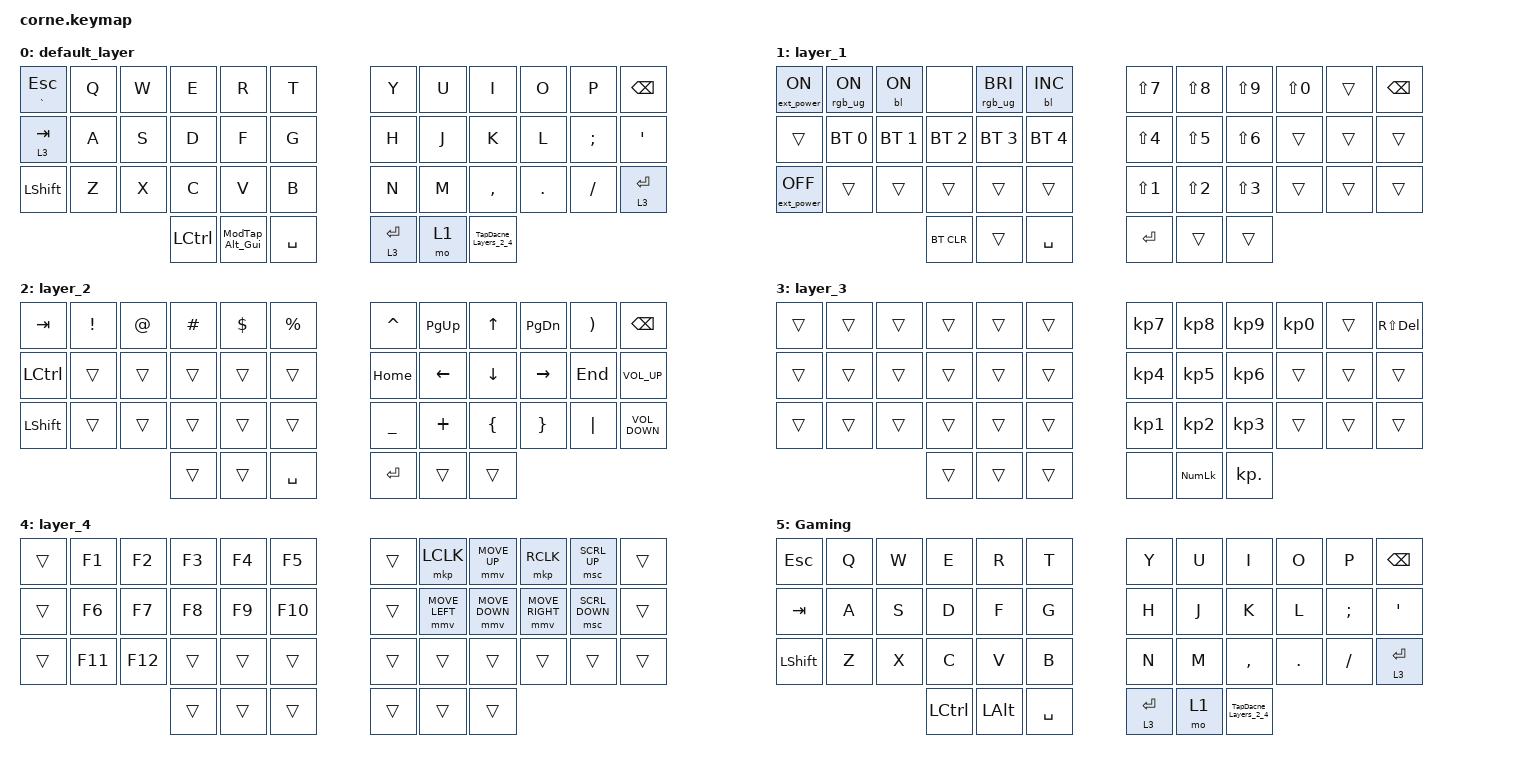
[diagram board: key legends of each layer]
/*
 * Copyright (c) 2020 The ZMK Contributors
 *
 * SPDX-License-Identifier: MIT
 */

#define ZMK_POINTING_DEFAULT_MOVE_VAL 1500  // default: 600
#define ZMK_POINTING_DEFAULT_SCRL_VAL 20    // default: 10

#include <behaviors.dtsi>
#include <dt-bindings/zmk/backlight.h>
#include <dt-bindings/zmk/bt.h>
#include <dt-bindings/zmk/ext_power.h>
#include <dt-bindings/zmk/keys.h>
#include <dt-bindings/zmk/pointing.h>
#include <dt-bindings/zmk/pointing.h>
#include <dt-bindings/zmk/pointing.h>
#include <dt-bindings/zmk/rgb.h>

&mt {
    hold-while-undecided;
    tapping-term-ms = <170>;
};

/ {
    combos {
        compatible = "zmk,combos";

        Delete {
            bindings = <&kp DEL>;
            key-positions = <11 24>;
            layers = <0>;
        };

        Toggle_Mute {
            bindings = <&kp C_MUTE>;
            key-positions = <35 23>;
            layers = <2>;
        };

        Shift_Del {
            bindings = <&kp RS(DELETE)>;
            key-positions = <35 11>;
            layers = <0>;
        };
    };

    behaviors {
        TapDacne_Layers_2_4: TapDacne_Layers_2_4 {
            compatible = "zmk,behavior-tap-dance";
            label = "TAPDACNE_LAYERS_2_4";
            #binding-cells = <0>;
            bindings = <&mo 2>, <&mo 4>;
        };

        ModTap_Alt_Gui: ModTap_Alt_Gui {
            compatible = "zmk,behavior-tap-dance";
            label = "MODTAP_ALT_GUI";
            #binding-cells = <0>;
            bindings = <&mt LEFT_ALT LEFT_GUI>, <&kp LEFT_GUI>;
        };
    };

    keymap {
        compatible = "zmk,keymap";

        default_layer {
            // -----------------------------------------------------------------------------------------
            // |  TAB |  Q  |  W  |  E  |  R  |  T  |   |  Y  |  U   |  I  |  O  |  P  | BSPC |
            // | CTRL |  A  |  S  |  D  |  F  |  G  |   |  H  |  J   |  K  |  L  |  ;  |  '   |
            // | SHFT |  Z  |  X  |  C  |  V  |  B  |   |  N  |  M   |  ,  |  .  |  /  | ESC  |
            //                    | GUI | LWR | SPC |   | ENT | RSE  | ALT |

            bindings = <
&mt GRAVE ESCAPE  &kp Q  &kp W  &kp E      &kp R            &kp T        &kp Y        &kp U  &kp I                 &kp O    &kp P     &kp BSPC
&lt 3 TAB         &kp A  &kp S  &kp D      &kp F            &kp G        &kp H        &kp J  &kp K                 &kp L    &kp SEMI  &kp SQT
&kp LSHFT         &kp Z  &kp X  &kp C      &kp V            &kp B        &kp N        &kp M  &kp COMMA             &kp DOT  &kp FSLH  &lt 3 ENTER
                                &kp LCTRL  &ModTap_Alt_Gui  &kp SPACE    &lt 3 ENTER  &mo 1  &TapDacne_Layers_2_4
            >;
        };

        layer_1 {
            // -----------------------------------------------------------------------------------------
            // |  TAB |  1  |  2  |  3  |  4  |  5  |   |  6  |  7  |  8  |  9  |  0  | BSPC |
            // | BTCLR| BT1 | BT2 | BT3 | BT4 | BT5 |   | LFT | DWN |  UP | RGT |     |      |
            // | SHFT |     |     |     |     |     |   |     |     |     |     |     |      |
            //                    | GUI |     | SPC |   | ENT |     | ALT |

            bindings = <
&ext_power EP_ON   &rgb_ug RGB_ON  &bl BL_ON     &none         &rgb_ug RGB_BRI  &bl BL_INC      &kp LS(N7)        &kp LS(N8)        &kp LS(N9)        &kp LS(N0)  &trans  &kp BSPC
&trans             &bt BT_SEL 0    &bt BT_SEL 1  &bt BT_SEL 2  &bt BT_SEL 3     &bt BT_SEL 4    &kp LS(NUMBER_4)  &kp LS(N5)        &kp LS(NUMBER_6)  &trans      &trans  &trans
&ext_power EP_OFF  &trans          &trans        &trans        &trans           &trans          &kp LS(NUMBER_1)  &kp LS(NUMBER_2)  &kp LS(NUMBER_3)  &trans      &trans  &trans
                                                 &bt BT_CLR    &trans           &kp SPACE       &kp RET           &trans            &trans
            >;
        };

        layer_2 {
            // -----------------------------------------------------------------------------------------
            // |  TAB |  !  |  @  |  #  |  $  |  %  |   |  ^  |  &  |  *  |  (  |  )  | BSPC |
            // | CTRL |     |     |     |     |     |   |  -  |  =  |  [  |  ]  |  \  |  `   |
            // | SHFT |     |     |     |     |     |   |  _  |  +  |  {  |  }  | "|" |  ~   |
            //                    | GUI |     | SPC |   | ENT |     | ALT |

            bindings = <
&kp TAB    &kp EXCL  &kp AT  &kp HASH  &kp DLLR  &kp PRCNT    &kp CARET  &kp PG_UP  &kp UP_ARROW    &kp PAGE_DOWN  &kp RPAR  &kp BSPC
&kp LCTRL  &trans    &trans  &trans    &trans    &trans       &kp HOME   &kp LEFT   &kp DOWN_ARROW  &kp RIGHT      &kp END   &kp C_VOLUME_UP
&kp LSHFT  &trans    &trans  &trans    &trans    &trans       &kp UNDER  &kp PLUS   &kp LBRC        &kp RBRC       &kp PIPE  &kp C_VOLUME_DOWN
                             &trans    &trans    &kp SPACE    &kp RET    &trans     &trans
            >;
        };

        layer_3 {
            bindings = <
&trans  &trans  &trans  &trans  &trans  &trans    &kp KP_NUMBER_7  &kp KP_NUMBER_8  &kp KP_NUMBER_9  &kp KP_NUMBER_0  &trans  &kp RS(DELETE)
&trans  &trans  &trans  &trans  &trans  &trans    &kp KP_NUMBER_4  &kp KP_NUMBER_5  &kp KP_NUMBER_6  &trans           &trans  &trans
&trans  &trans  &trans  &trans  &trans  &trans    &kp KP_NUMBER_1  &kp KP_NUMBER_2  &kp KP_NUMBER_3  &trans           &trans  &trans
                        &trans  &trans  &trans    &none            &kp KP_NUM       &kp KP_DOT
            >;
        };

        layer_4 {
            bindings = <
&trans  &kp F1   &kp F2   &kp F3  &kp F4  &kp F5     &trans  &mkp LCLK       &mmv MOVE_UP    &mkp RCLK        &msc SCRL_UP    &trans
&trans  &kp F6   &kp F7   &kp F8  &kp F9  &kp F10    &trans  &mmv MOVE_LEFT  &mmv MOVE_DOWN  &mmv MOVE_RIGHT  &msc SCRL_DOWN  &trans
&trans  &kp F11  &kp F12  &trans  &trans  &trans     &trans  &trans          &trans          &trans           &trans          &trans
                          &trans  &trans  &trans     &trans  &trans          &trans
            >;
        };

        Gaming {
            bindings = <
&kp ESCAPE  &kp Q  &kp W  &kp E      &kp R         &kp T        &kp Y        &kp U  &kp I                 &kp O    &kp P     &kp BSPC
&kp TAB     &kp A  &kp S  &kp D      &kp F         &kp G        &kp H        &kp J  &kp K                 &kp L    &kp SEMI  &kp SQT
&kp LSHFT   &kp Z  &kp X  &kp C      &kp V         &kp B        &kp N        &kp M  &kp COMMA             &kp DOT  &kp FSLH  &lt 3 ENTER
                          &kp LCTRL  &kp LEFT_ALT  &kp SPACE    &lt 3 ENTER  &mo 1  &TapDacne_Layers_2_4
            >;
        };
    };
};
